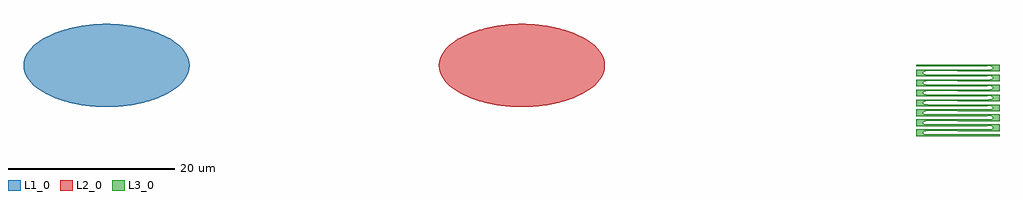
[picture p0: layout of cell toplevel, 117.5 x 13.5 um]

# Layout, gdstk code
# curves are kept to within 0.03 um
from math import pi, radians
import gdstk
lib = gdstk.Library(unit=1e-6, precision=1e-09)
def R(c, l, rs):  # rectangles x0, y0, x1, y1
    for r in rs: c.add(gdstk.rectangle(r[:2], r[2:], *l))
def P(c, l, *ps):  # polygons
    for p in ps: c.add(gdstk.Polygon(p, *l))
L1_0 = (1, 0)
L2_0 = (2, 0)
L3_0 = (3, 0)

ellipse = lib.new_cell('ellipse')
P(ellipse, L1_0, [(10,0),(9.962,0.435),(9.85,0.862),(9.67,1.273),(9.142,2.027),(8.814,2.362),(8.085,2.943),(6.927,3.606),(5.459,4.189),(3.869,4.611),(2.028,4.896),(0,5),(-2.028,4.896),(-3.869,4.611),(-5.459,4.189),(-6.927,3.606),(-8.085,2.943),(-8.814,2.362),(-9.142,2.027),(-9.67,1.273),(-9.85,0.862),(-9.962,0.435),(-10,0),(-9.962,-0.435),(-9.85,-0.862),(-9.67,-1.273),(-9.142,-2.027),(-8.814,-2.362),(-8.085,-2.943),(-6.927,-3.606),(-5.459,-4.189),(-3.869,-4.611),(-2.028,-4.896),(0,-5),(2.028,-4.896),(3.869,-4.611),(5.459,-4.189),(6.927,-3.606),(8.085,-2.943),(8.814,-2.362),(9.142,-2.027),(9.67,-1.273),(9.85,-0.862),(9.962,-0.435)])

ellipse001 = lib.new_cell('ellipse001')
P(ellipse001, L2_0, [(10,0),(9.962,0.435),(9.85,0.862),(9.67,1.273),(9.142,2.027),(8.814,2.362),(8.085,2.943),(6.927,3.606),(5.459,4.189),(3.869,4.611),(2.028,4.896),(0,5),(-2.028,4.896),(-3.869,4.611),(-5.459,4.189),(-6.927,3.606),(-8.085,2.943),(-8.814,2.362),(-9.142,2.027),(-9.67,1.273),(-9.85,0.862),(-9.962,0.435),(-10,0),(-9.962,-0.435),(-9.85,-0.862),(-9.67,-1.273),(-9.142,-2.027),(-8.814,-2.362),(-8.085,-2.943),(-6.927,-3.606),(-5.459,-4.189),(-3.869,-4.611),(-2.028,-4.896),(0,-5),(2.028,-4.896),(3.869,-4.611),(5.459,-4.189),(6.927,-3.606),(8.085,-2.943),(8.814,-2.362),(9.142,-2.027),(9.67,-1.273),(9.85,-0.862),(9.962,-0.435)])

rectangle = lib.new_cell('rectangle')
R(rectangle, L3_0, [(0,0,5,0.2)])

compass = lib.new_cell('compass')
compass.add(gdstk.Reference(rectangle, (-2.5,-0.1)))

hairpin = lib.new_cell('hairpin')
P(hairpin, L3_0, [(-0.59,-0.2),(-0.068,-0.163),(0.053,-0.095),(0.092,0),(0.892,0),(0.892,-0.4),(-4.108,-0.4),(-4.108,-0.2)],
  [(-0.59,0.2),(-0.068,0.163),(0.053,0.095),(0.092,0),(0.892,0),(0.892,0.4),(-4.108,0.4),(-4.108,0.2)])

rectangle001 = lib.new_cell('rectangle001')
R(rectangle001, L3_0, [(0,0,5,0.2)])

compass001 = lib.new_cell('compass001')
compass001.add(gdstk.Reference(rectangle001, (-2.5,-0.1)))

snspd = lib.new_cell('snspd')
snspd.add(gdstk.Reference(compass, (0,0)))
snspd.add(gdstk.Reference(hairpin, (6.608,-0.3)))
snspd.add(gdstk.Reference(hairpin, (-1.608,-0.9), rotation=pi))
snspd.add(gdstk.Reference(hairpin, (6.608,-1.5)))
snspd.add(gdstk.Reference(hairpin, (-1.608,-2.1), rotation=pi))
snspd.add(gdstk.Reference(hairpin, (6.608,-2.7)))
snspd.add(gdstk.Reference(hairpin, (-1.608,-3.3), rotation=pi))
snspd.add(gdstk.Reference(hairpin, (6.608,-3.9)))
snspd.add(gdstk.Reference(hairpin, (-1.608,-4.5), rotation=pi))
snspd.add(gdstk.Reference(hairpin, (6.608,-5.1)))
snspd.add(gdstk.Reference(hairpin, (-1.608,-5.7), rotation=pi))
snspd.add(gdstk.Reference(hairpin, (6.608,-6.3)))
snspd.add(gdstk.Reference(hairpin, (-1.608,-6.9), rotation=pi))
snspd.add(gdstk.Reference(hairpin, (6.608,-7.5)))
snspd.add(gdstk.Reference(hairpin, (-1.608,-8.1), rotation=pi))
snspd.add(gdstk.Reference(compass001, (5,-8.4), rotation=pi))

toplevel = lib.new_cell('toplevel')
toplevel.add(gdstk.Reference(ellipse, (0,0)))
toplevel.add(gdstk.Reference(ellipse001, (50,0)))
toplevel.add(gdstk.Reference(snspd, (100,0)))

lib.write_gds('toplevel.gds')
